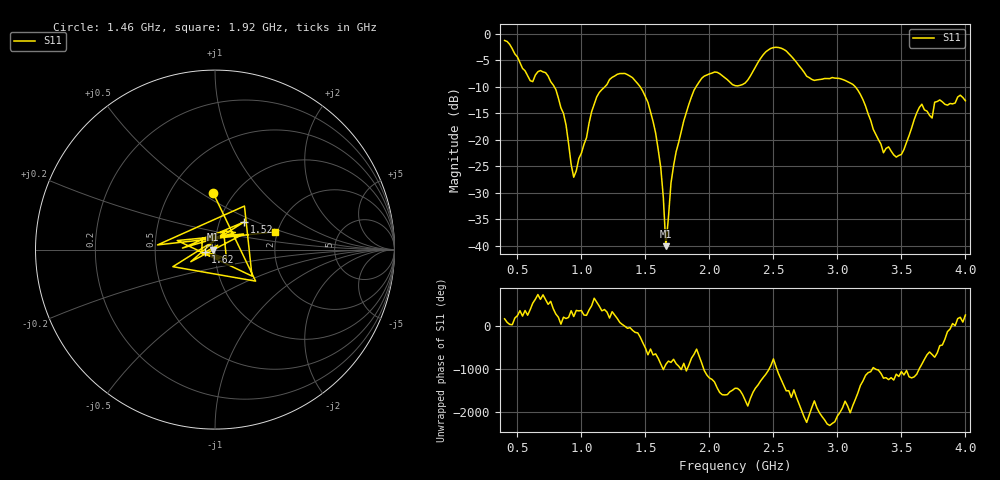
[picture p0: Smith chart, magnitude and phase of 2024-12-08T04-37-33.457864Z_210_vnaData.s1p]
!Created with skrf (http://scikit-rf.org).
# Hz S RI R 50.0
!freq ReS11 ImS11
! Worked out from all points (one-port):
!   181 points, 400 MHz to 4 GHz, reference 50 ohm
!   lowest |S11| = -40.1 dB at 1.66 GHz (marker M1), VSWR 1.02, Z = 49 - j0.0409 ohm
!   |S11| at or under -10 dB: 787.3 MHz to 1.184 GHz (397.1 MHz wide, 40.3 % of centre); 1.458 GHz to 1.896 GHz (438.4 MHz wide, 26.1 % of centre); 3.139 GHz to end of sweep
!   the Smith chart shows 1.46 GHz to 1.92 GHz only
!   S11 on the Smith chart (normalised r, x): 1.46 GHz: 0.81, +0.56; 1.52 GHz: 1.31, +0.43; 1.62 GHz: 0.90, -0.02; 1.92 GHz: 1.94, +0.44
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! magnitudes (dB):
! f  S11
! 400 MHz  -1.3
! 600 MHz  -8.9
! 720 MHz  -7.4
! 860 MHz  -15.1
! 940 MHz  -27.1
! 1.12 GHz  -11.9
! 1.3 GHz  -7.5
! 1.46 GHz  -10.1
! 1.52 GHz  -13.0
! 1.62 GHz  -25.3
! 1.66 GHz  -40.1
! 1.7 GHz  -28.2
! 1.76 GHz  -20.5
! 1.92 GHz  -9.1
! 2.04 GHz  -7.2
! 2.2 GHz  -9.8
! 2.48 GHz  -2.8
! 2.66 GHz  -4.8
! 2.8 GHz  -8.6
! 3.1 GHz  -9.3
! 3.2 GHz  -12.5
! 3.36 GHz  -22.5
! 3.5 GHz  -22.8
! 3.56 GHz  -19.2
! 3.66 GHz  -13.3
! 3.74 GHz  -15.9
! 3.76 GHz  -12.9
! 4 GHz  -12.7
